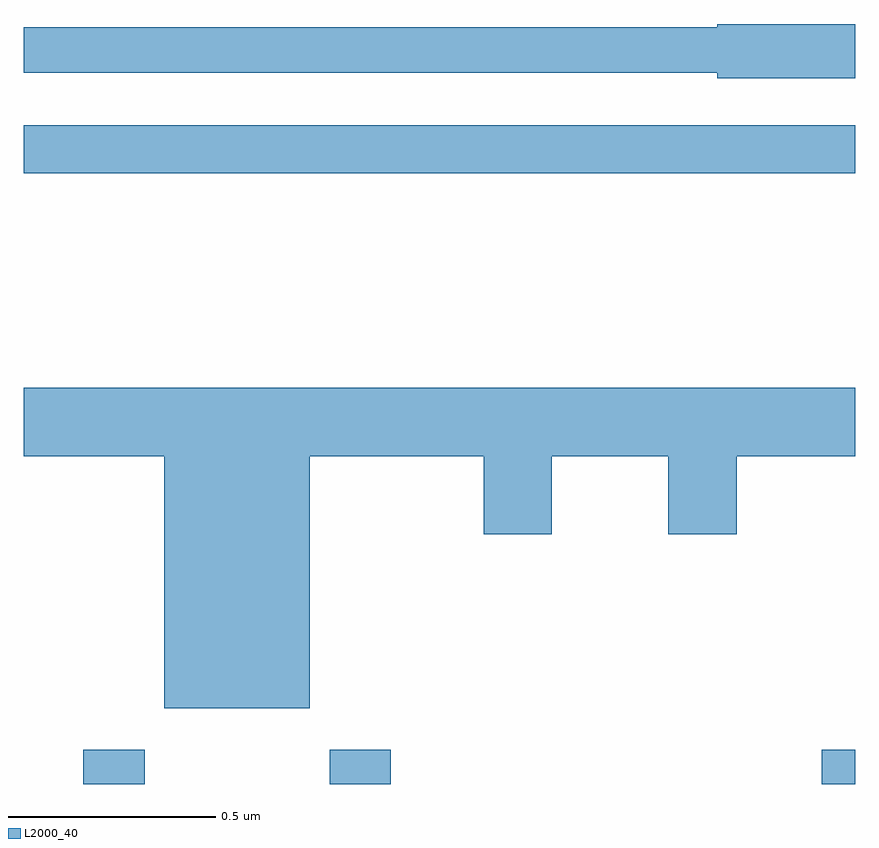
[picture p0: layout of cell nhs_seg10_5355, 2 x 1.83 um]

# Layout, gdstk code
import gdstk
lib = gdstk.Library(unit=1e-6, precision=1e-09)
def R(c, l, rs):  # rectangles x0, y0, x1, y1
    for r in rs: c.add(gdstk.rectangle(r[:2], r[2:], *l))
def P(c, l, *ps):  # polygons
    for p in ps: c.add(gdstk.Polygon(p, *l))
L2000_40 = (2000, 40)

nhs_seg10_5355 = lib.new_cell('nhs_seg10_5355')
R(nhs_seg10_5355, L2000_40, [(177.143,1327.5,177.291,1327.582), (177.736,1327.5,177.883,1327.582), (178.919,1327.5,179,1327.582), (177,1328.968,179,1329.084)])
P(nhs_seg10_5355, L2000_40, [(179,1329.327),(178.668,1329.327),(178.668,1329.319),(177,1329.319),(177,1329.21),(178.668,1329.21),(178.668,1329.197),(179,1329.197)],
  [(177.688,1328.288),(178.106,1328.288),(178.106,1328.1),(178.27,1328.1),(178.27,1328.288),(178.55,1328.288),(178.55,1328.1),(178.714,1328.1),(178.714,1328.288),(179,1328.288),(179,1328.452),(177,1328.452),(177,1328.288),(177.338,1328.288),(177.338,1327.682),(177.688,1327.682)])

lib.write_gds('nhs_seg10_5355.gds')
